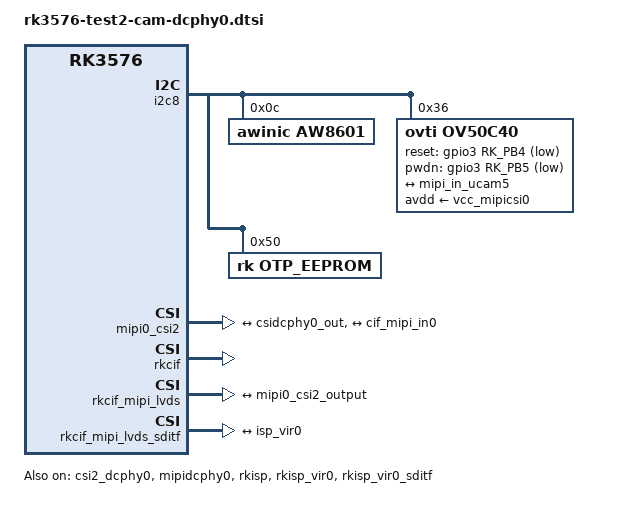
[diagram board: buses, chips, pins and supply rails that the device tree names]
// SPDX-License-Identifier: (GPL-2.0+ OR MIT)
/*
 * Copyright (c) 2024 Rockchip Electronics Co., Ltd.
 *
 */

&csi2_dcphy0 {
	status = "okay";

	ports {
		#address-cells = <1>;
		#size-cells = <0>;
		port@0 {
			reg = <0>;
			#address-cells = <1>;
			#size-cells = <0>;

			mipi_in_ucam5: endpoint@6 {
				reg = <6>;
				remote-endpoint = <&ov50c40_out>;
				data-lanes = <1 2 3>;
			};
		};
		port@1 {
			reg = <1>;
			#address-cells = <1>;
			#size-cells = <0>;

			csidcphy0_out: endpoint@0 {
				reg = <0>;
				remote-endpoint = <&mipi0_csi2_input>;
			};
		};
	};
};

&i2c8 {
	status = "okay";
	pinctrl-0 = <&i2c8m3_xfer>;

	aw8601: aw8601@c {
		compatible = "awinic,aw8601";
		status = "okay";
		reg = <0x0c>;
		rockchip,vcm-start-current = <56>;
		rockchip,vcm-rated-current = <96>;
		rockchip,vcm-step-mode = <4>;
		rockchip,camera-module-index = <0>;
		rockchip,camera-module-facing = "back";
	};

	ov50c40: ov50c40@36 {
		compatible = "ovti,ov50c40";
		status = "okay";
		reg = <0x36>;
		clocks = <&cru CLK_MIPI_CAMERAOUT_M0>;
		clock-names = "xvclk";
		pinctrl-names = "default";
		pinctrl-0 = <&cam_clk0m0_clk0>;
		power-domains = <&power RK3576_PD_VI>;
		avdd-supply = <&vcc_mipicsi0>;
		reset-gpios = <&gpio3 RK_PB4 GPIO_ACTIVE_LOW>;
		pwdn-gpios = <&gpio3 RK_PB5 GPIO_ACTIVE_LOW>;
		rockchip,camera-module-index = <0>;
		rockchip,camera-module-facing = "back";
		rockchip,camera-module-name = "HZGA06";
		rockchip,camera-module-lens-name = "ZE0082C1";
		eeprom-ctrl = <&otp_eeprom>;
		lens-focus = <&aw8601>;
		port {
			ov50c40_out: endpoint {
				remote-endpoint = <&mipi_in_ucam5>;
				bus-type = <1>;
				data-lanes = <1 2 3>;
			};
		};
	};

	otp_eeprom: otp_eeprom@50 {
		compatible = "rk,otp_eeprom";
		status = "okay";
		reg = <0x50>;
	};
};

&mipidcphy0 {
	status = "okay";
};

&mipi0_csi2 {
	status = "okay";

	ports {
		#address-cells = <1>;
		#size-cells = <0>;

		port@0 {
			reg = <0>;
			#address-cells = <1>;
			#size-cells = <0>;

			mipi0_csi2_input: endpoint@1 {
				reg = <1>;
				remote-endpoint = <&csidcphy0_out>;
			};
		};

		port@1 {
			reg = <1>;
			#address-cells = <1>;
			#size-cells = <0>;

			mipi0_csi2_output: endpoint@0 {
				reg = <0>;
				remote-endpoint = <&cif_mipi_in0>;
			};
		};
	};
};

&rkcif {
	status = "okay";
};

&rkcif_mipi_lvds {
	status = "okay";

	port {
		cif_mipi_in0: endpoint {
			remote-endpoint = <&mipi0_csi2_output>;
		};
	};
};

&rkcif_mipi_lvds_sditf {
	status = "okay";

	port {
		mipi_lvds_sditf: endpoint {
			remote-endpoint = <&isp_vir0>;
		};
	};
};

&rkcif_mmu {
	status = "okay";
};

&rkisp {
	status = "okay";
};

&rkisp_mmu {
	status = "okay";
};

&rkisp_vir0 {
	status = "okay";

	port {
		#address-cells = <1>;
		#size-cells = <0>;

		isp_vir0: endpoint@0 {
			reg = <0>;
			remote-endpoint = <&mipi_lvds_sditf>;
		};
	};
};

&rkisp_vir0_sditf {
	status = "okay";
};
